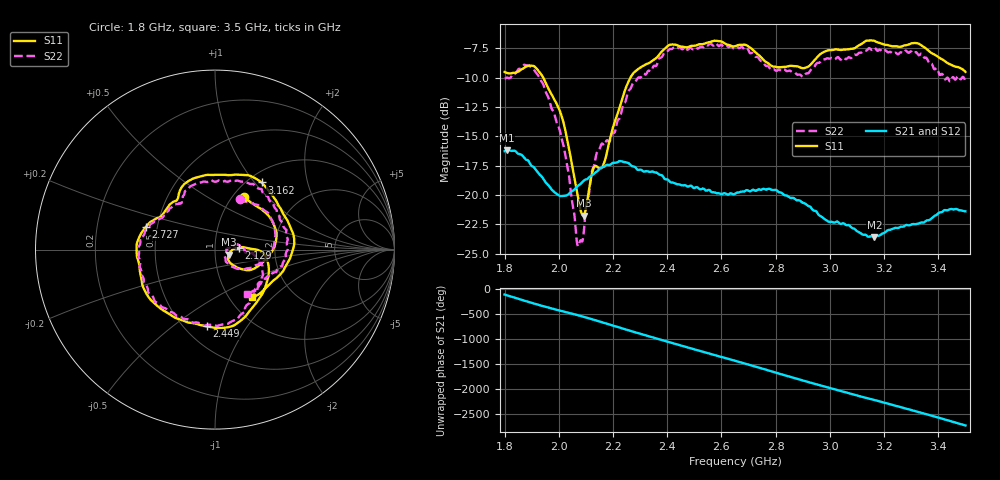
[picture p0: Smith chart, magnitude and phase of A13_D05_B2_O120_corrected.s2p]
! Created with skrf 1.9.0 (http://scikit-rf.org).
# Hz S RI R 50.0
!freq ReS11 ImS11 ReS21 ImS21 ReS12 ImS12 ReS22 ImS22
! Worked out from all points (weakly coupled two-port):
!   1601 points, 1.8 GHz to 3.5 GHz, reference 50 ohm
!   highest |S21| = -16.17 dB at 1.808 GHz (marker M1); lowest = -23.6 dB at 3.164 GHz (marker M2)
!   lowest |S11| = -21.8 dB at 2.091 GHz (marker M3), VSWR 1.18, Z = 58.2 - j3.3 ohm
!   |S11| at or under -10 dB: 1.943 GHz to 2.264 GHz (320.8 MHz wide, 15.3 % of centre)
!   |S22| runs from -24.4 to -7.1 dB; largest |S21 - S12| = 0.0028
!   S11 on the Smith chart (normalised r, x): 1.8 GHz: 1.13, +0.74; 2.129 GHz: 1.30, +0.02; 2.449 GHz: 0.64, -0.67; 2.727 GHz: 0.43, +0.13; 3.162 GHz: 1.15, +1.09; 3.5 GHz: 1.27, -0.76
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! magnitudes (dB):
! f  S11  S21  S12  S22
! 1.8 GHz  -9.5  -16.3  -16.3  -10.1
! 1.808 GHz  -9.6  -16.2  -16.2  -10.0
! 1.881 GHz  -9.0  -17.0  -17.0  -8.9
! 1.941 GHz  -9.9  -18.6  -18.5  -10.5
! 2.014 GHz  -13.5  -20.1  -20.1  -15.5
! 2.068 GHz  -19.8  -19.3  -19.3  -24.2
! 2.084 GHz  -21.5  -19.0  -18.9  -23.9
! 2.091 GHz  -21.8  -18.8  -18.8  -23.4
! 2.129 GHz  -17.6  -18.2  -18.2  -17.5
! 2.166 GHz  -17.4  -17.6  -17.6  -15.7
! 2.265 GHz  -9.9  -17.4  -17.4  -10.9
! 2.367 GHz  -8.1  -18.2  -18.1  -8.5
! 2.449 GHz  -7.3  -19.1  -19.1  -7.4
! 2.65 GHz  -7.3  -19.9  -19.9  -7.5
! 2.727 GHz  -7.8  -19.6  -19.6  -8.2
! 2.796 GHz  -9.0  -19.6  -19.5  -9.3
! 2.934 GHz  -8.8  -21.2  -21.1  -9.2
! 3.162 GHz  -6.8  -23.6  -23.5  -7.5
! 3.164 GHz  -6.8  -23.6  -23.5  -7.4
! 3.217 GHz  -7.2  -23.0  -23.0  -7.8
! 3.326 GHz  -7.1  -22.4  -22.4  -8.0
! 3.5 GHz  -9.5  -21.4  -21.4  -10.3
